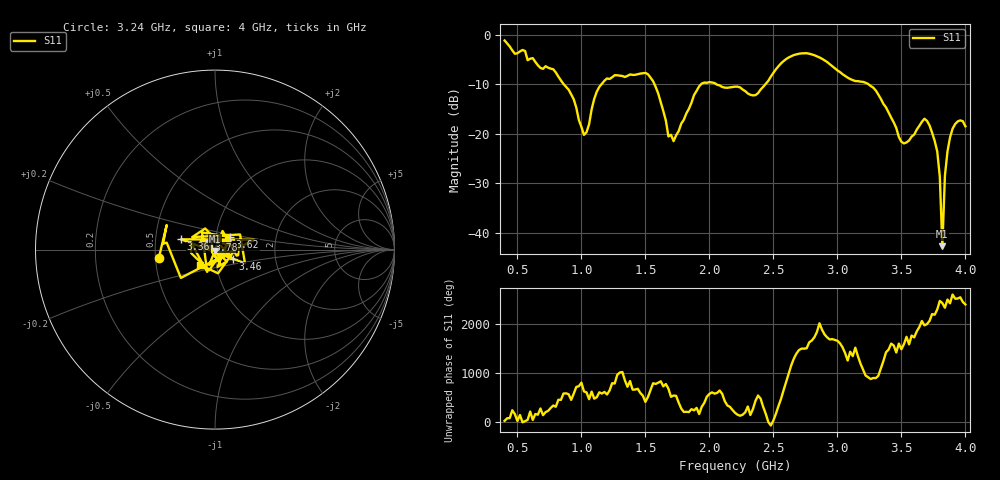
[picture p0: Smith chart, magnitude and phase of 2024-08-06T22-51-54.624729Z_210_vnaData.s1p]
!Created with skrf (http://scikit-rf.org).
# Hz S RI R 50.0
!freq ReS11 ImS11
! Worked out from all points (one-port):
!   181 points, 400 MHz to 4 GHz, reference 50 ohm
!   lowest |S11| = -42.7 dB at 3.82 GHz (marker M1), VSWR 1.01, Z = 49.8 - j0.7 ohm
!   |S11| at or under -10 dB: 1.57 GHz to 1.937 GHz (366.5 MHz wide, 20.9 % of centre); 2.052 GHz to 2.439 GHz (386.6 MHz wide, 17.2 % of centre); 3.241 GHz to end of sweep (the widest 3 of 4)
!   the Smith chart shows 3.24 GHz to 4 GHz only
!   S11 on the Smith chart (normalised r, x): 3.24 GHz: 0.52, -0.06; 3.36 GHz: 0.68, +0.08; 3.46 GHz: 1.21, -0.13; 3.62 GHz: 1.17, +0.17; 3.78 GHz: 0.92, +0.10; 4 GHz: 0.84, -0.15
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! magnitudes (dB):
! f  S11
! 400 MHz  -1.2
! 860 MHz  -10.0
! 940 MHz  -13.1
! 1.02 GHz  -20.3
! 1.14 GHz  -10.6
! 1.3 GHz  -8.3
! 1.52 GHz  -8.0
! 1.6 GHz  -11.9
! 1.68 GHz  -20.6
! 1.76 GHz  -19.5
! 1.94 GHz  -9.9
! 2.2 GHz  -10.5
! 2.36 GHz  -12.2
! 2.66 GHz  -4.1
! 3.1 GHz  -9.0
! 3.24 GHz  -10.0
! 3.36 GHz  -14.0
! 3.46 GHz  -18.9
! 3.56 GHz  -21.4
! 3.62 GHz  -19.2
! 3.7 GHz  -17.4
! 3.78 GHz  -23.6
! 3.8 GHz  -28.7
! 3.82 GHz  -42.7
! 3.84 GHz  -28.5
! 3.88 GHz  -20.8
! 3.94 GHz  -17.5
! 4 GHz  -18.5
